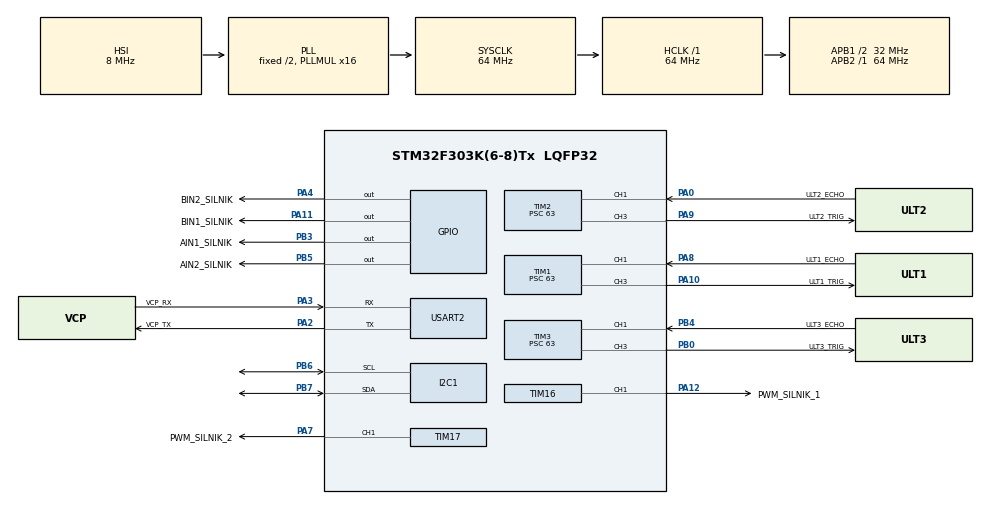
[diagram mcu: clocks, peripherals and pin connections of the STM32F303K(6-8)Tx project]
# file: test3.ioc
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I2C1.Analog_Filter=I2C_ANALOGFILTER_DISABLE
I2C1.Timing=0x00101D2D
Mcu.Family=STM32F3
Mcu.Name=STM32F303K(6-8)Tx
Mcu.Package=LQFP32
NVIC.PriorityGroup=NVIC_PRIORITYGROUP_4
NVIC.TIM6_DAC1_IRQn=true\:0\:0\:false\:false\:true\:true\:true
PA0.GPIO_Label=ULT2_ECHO
PA0.Signal=S_TIM2_CH1_ETR
PA10.GPIO_Label=ULT1_TRIG
PA10.Signal=S_TIM1_CH3
PA11.GPIO_Label=BIN1_SILNIK
PA11.Signal=GPIO_Output
PA12.GPIO_Label=PWM_SILNIK_1
PA12.Signal=S_TIM16_CH1
PA13.GPIO_Label=SWDIO
PA13.Mode=Serial_Wire
PA13.Signal=SYS_JTMS-SWDIO
PA14.GPIO_Label=SWCLK
PA14.Mode=Serial_Wire
PA14.Signal=SYS_JTCK-SWCLK
PA2.GPIO_Label=VCP_TX
PA2.Mode=Asynchronous
PA2.Signal=USART2_TX
PA3.GPIO_Label=VCP_RX
PA3.Mode=Asynchronous
PA3.Signal=USART2_RX
PA4.GPIO_Label=BIN2_SILNIK
PA4.Signal=GPIO_Output
PA7.GPIO_Label=PWM_SILNIK_2
PA7.Signal=S_TIM17_CH1
PA8.GPIO_Label=ULT1_ECHO
PA8.Signal=S_TIM1_CH1
PA9.GPIO_Label=ULT2_TRIG
PA9.Signal=S_TIM2_CH3
PB0.GPIO_Label=ULT3_TRIG
PB0.Signal=S_TIM3_CH3
PB3.GPIO_Label=AIN1_SILNIK
PB3.Signal=GPIO_Output
PB4.GPIO_Label=ULT3_ECHO
PB4.Signal=S_TIM3_CH1
PB5.GPIO_Label=AIN2_SILNIK
PB5.Signal=GPIO_Output
PB6.Mode=I2C
PB6.Signal=I2C1_SCL
PB7.Mode=I2C
PB7.Signal=I2C1_SDA
PF0\ /\ OSC_IN.GPIO_Label=MCO
PF0\ /\ OSC_IN.Mode=HSE-External-Clock-Source
PF0\ /\ OSC_IN.Signal=RCC_OSC_IN
ProjectManager.HeapSize=0x200
ProjectManager.StackSize=0x400
ProjectManager.TargetToolchain=STM32CubeIDE
RCC.AHBFreq_Value=64000000
RCC.APB1CLKDivider=RCC_HCLK_DIV2
RCC.APB1Freq_Value=32000000
RCC.APB1TimFreq_Value=64000000
RCC.APB2Freq_Value=64000000
RCC.APB2TimFreq_Value=64000000
RCC.CortexFreq_Value=64000000
RCC.HCLKFreq_Value=64000000
RCC.HSE_VALUE=8000000
RCC.HSI_VALUE=8000000
RCC.PLLMUL=RCC_PLL_MUL16
RCC.SYSCLKFreq_VALUE=64000000
RCC.SYSCLKSourceVirtual=RCC_SYSCLKSOURCE_PLLCLK
SH.S_TIM16_CH1.0=TIM16_CH1,PWM Generation1 CH1
SH.S_TIM17_CH1.0=TIM17_CH1,PWM Generation1 CH1
SH.S_TIM1_CH1.0=TIM1_CH1,Input_Capture1_from_TI1
SH.S_TIM1_CH1.1=TIM1_CH1,Input_Capture2_from_TI1
SH.S_TIM1_CH3.0=TIM1_CH3,PWM Generation3 CH3
SH.S_TIM2_CH1_ETR.0=TIM2_CH1,Input_Capture1_from_TI1
SH.S_TIM2_CH1_ETR.1=TIM2_CH1,Input_Capture2_from_TI1
SH.S_TIM2_CH3.0=TIM2_CH3,PWM Generation3 CH3
SH.S_TIM3_CH1.0=TIM3_CH1,Input_Capture2_from_TI1
SH.S_TIM3_CH1.1=TIM3_CH1,Input_Capture1_from_TI1
SH.S_TIM3_CH3.0=TIM3_CH3,PWM Generation3 CH3
TIM1.Channel-Input_Capture1_from_TI1=TIM_CHANNEL_1
TIM1.Channel-Input_Capture2_from_TI1=TIM_CHANNEL_2
TIM1.Channel-PWM\ Generation3\ CH3=TIM_CHANNEL_3
TIM1.ICPolarity_CH2=TIM_INPUTCHANNELPOLARITY_FALLING
TIM1.Prescaler=63
TIM1.Pulse-PWM\ Generation3\ CH3=10
TIM16.Channel=TIM_CHANNEL_1
TIM16.Period=99
TIM16.Prescaler=9
TIM17.Channel=TIM_CHANNEL_1
TIM17.Period=99
TIM17.Prescaler=9
TIM2.Channel-Input_Capture1_from_TI1=TIM_CHANNEL_1
TIM2.Channel-Input_Capture2_from_TI1=TIM_CHANNEL_2
TIM2.Channel-PWM\ Generation3\ CH3=TIM_CHANNEL_3
TIM2.ICPolarity_CH2=TIM_INPUTCHANNELPOLARITY_FALLING
TIM2.Period=65535
TIM2.Prescaler=63
TIM2.Pulse-PWM\ Generation3\ CH3=10
TIM3.Channel-Input_Capture1_from_TI1=TIM_CHANNEL_1
TIM3.Channel-Input_Capture2_from_TI1=TIM_CHANNEL_2
TIM3.Channel-PWM\ Generation3\ CH3=TIM_CHANNEL_3
TIM3.ICPolarity_CH2=TIM_INPUTCHANNELPOLARITY_FALLING
TIM3.Prescaler=63
TIM3.Pulse-PWM\ Generation3\ CH3=10
TIM6.Period=99
TIM6.Prescaler=6399
USART2.VirtualMode-Asynchronous=VM_ASYNC
VP_TIM16_VS_ClockSourceINT.Mode=Enable_Timer
VP_TIM17_VS_ClockSourceINT.Mode=Enable_Timer
VP_TIM1_VS_ClockSourceINT.Mode=Internal
VP_TIM2_VS_ClockSourceINT.Mode=Internal
VP_TIM3_VS_ClockSourceINT.Mode=Internal
VP_TIM6_VS_ClockSourceINT.Mode=Enable_Timer
board=NUCLEO-F303K8

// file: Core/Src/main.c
/* USER CODE BEGIN Header */
/**
  ******************************************************************************
  * @file           : main.c
  * @brief          : Main program body
  ******************************************************************************
  * @attention
  *
  * <h2><center>&copy; Copyright (c) 2023 STMicroelectronics.
  * All rights reserved.</center></h2>
  *
  * This software component is licensed by ST under BSD 3-Clause license,
  * the "License"; You may not use this file except in compliance with the
  * License. You may obtain a copy of the License at:
  *                        opensource.org/licenses/BSD-3-Clause
  *
  ******************************************************************************
  */
/* USER CODE END Header */
#include "main.h"
#include "i2c.h"
#include "tim.h"
#include "usart.h"
#include "gpio.h"

/* USER CODE BEGIN Includes */
#include "ultrasound.h"
#include "eeprom.h"
#include "motors.h"
/* USER CODE END Includes */

/* USER CODE BEGIN PV */
volatile uint8_t motor_state = 0; // for interrupt
float distance_readings[3];		// array to contain data from ultrasound sensors
/* USER CODE END PV */

void SystemClock_Config(void);

/* USER CODE BEGIN 0 */

void HAL_TIM_PeriodElapsedCallback(TIM_HandleTypeDef *htim){
	if(htim->Instance == TIM6){
		motor_state = 1;
	}
}

int _write(int file, char *prt, int len){
	HAL_UART_Transmit(&huart2, (uint8_t *)prt, (size_t)len, 50);
	return len;
}
/* USER CODE END 0 */

int main(void)
{

  /* MCU Configuration--------------------------------------------------------*/

  /* Reset of all peripherals, Initializes the Flash interface and the Systick. */
  HAL_Init();

  /* Configure the system clock */
  SystemClock_Config();

  /* Initialize all configured peripherals */
  MX_GPIO_Init();
  MX_TIM1_Init();
  MX_TIM2_Init();
  MX_TIM3_Init();
  MX_I2C1_Init();
  MX_TIM16_Init();
  MX_TIM17_Init();
  MX_USART2_UART_Init();
  MX_TIM6_Init();
  /* USER CODE BEGIN 2 */
  /* USER CODE BEGIN 2 */

  init_ultrasound_sensors();
  motors_init();
  HAL_TIM_Base_Start_IT(&htim6);

  /* USER CODE END 2 */

  /* Infinite loop */
  /* USER CODE BEGIN WHILE */

  while (1)
  {
	  read_distances(distance_readings);
	  write_to_eeprom(distance_readings);
	  read_from_eeprom();
	  control(&motor_state, distance_readings);

    /* USER CODE END WHILE */

  }
}

void SystemClock_Config(void)
{
  RCC_OscInitTypeDef RCC_OscInitStruct = {0};
  RCC_ClkInitTypeDef RCC_ClkInitStruct = {0};
  RCC_PeriphCLKInitTypeDef PeriphClkInit = {0};

  /** Initializes the RCC Oscillators according to the specified parameters
  * in the RCC_OscInitTypeDef structure.
  */
  RCC_OscInitStruct.OscillatorType = RCC_OSCILLATORTYPE_HSI;
  RCC_OscInitStruct.HSIState = RCC_HSI_ON;
  RCC_OscInitStruct.HSICalibrationValue = RCC_HSICALIBRATION_DEFAULT;
  RCC_OscInitStruct.PLL.PLLState = RCC_PLL_ON;
  RCC_OscInitStruct.PLL.PLLSource = RCC_PLLSOURCE_HSI;
  RCC_OscInitStruct.PLL.PLLMUL = RCC_PLL_MUL16;
  if (HAL_RCC_OscConfig(&RCC_OscInitStruct) != HAL_OK)
  {
    Error_Handler();
  }
  /** Initializes the CPU, AHB and APB buses clocks
  */
  RCC_ClkInitStruct.ClockType = RCC_CLOCKTYPE_HCLK|RCC_CLOCKTYPE_SYSCLK
                              |RCC_CLOCKTYPE_PCLK1|RCC_CLOCKTYPE_PCLK2;
  RCC_ClkInitStruct.SYSCLKSource = RCC_SYSCLKSOURCE_PLLCLK;
  RCC_ClkInitStruct.AHBCLKDivider = RCC_SYSCLK_DIV1;
  RCC_ClkInitStruct.APB1CLKDivider = RCC_HCLK_DIV2;
  RCC_ClkInitStruct.APB2CLKDivider = RCC_HCLK_DIV1;

  if (HAL_RCC_ClockConfig(&RCC_ClkInitStruct, FLASH_LATENCY_2) != HAL_OK)
  {
    Error_Handler();
  }
  PeriphClkInit.PeriphClockSelection = RCC_PERIPHCLK_I2C1|RCC_PERIPHCLK_TIM1;
  PeriphClkInit.I2c1ClockSelection = RCC_I2C1CLKSOURCE_HSI;
  PeriphClkInit.Tim1ClockSelection = RCC_TIM1CLK_HCLK;
  if (HAL_RCCEx_PeriphCLKConfig(&PeriphClkInit) != HAL_OK)
  {
    Error_Handler();
  }
}

void Error_Handler(void)
{
}

/************************ (C) COPYRIGHT STMicroelectronics *****END OF FILE****/
